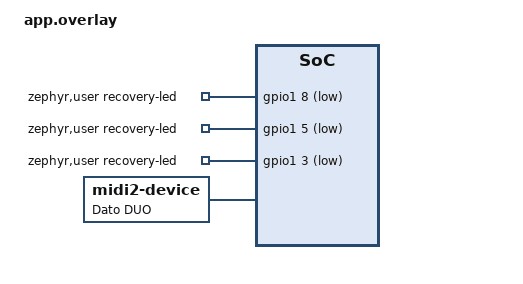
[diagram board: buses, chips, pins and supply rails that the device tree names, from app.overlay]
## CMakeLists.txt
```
# Copyright (c) 2025 Dato Musical Instruments
# SPDX-License-Identifier: Apache-2.0

cmake_minimum_required(VERSION 3.20.0)

find_package(Zephyr REQUIRED HINTS $ENV{ZEPHYR_BASE})
project(duo_firmware LANGUAGES C CXX)

target_sources(app PRIVATE
  src/main.cpp
  src/scales.cpp
  src/tempo.cpp
  src/tempo_clock.cpp

  # Sequencer core, shared with the Brains 1 firmware and compiled as is.
  ${CMAKE_CURRENT_LIST_DIR}/../../shared/duo/seq.cpp

  src/dsp/audio_out.cpp
  src/dsp/voice.cpp

  src/platform/FastLED.cpp
  src/platform/audio_path.cpp
  src/platform/audio_path_pinctrl.c
  src/platform/keys.cpp
  src/platform/midi.cpp
  src/platform/mux_pinctrl.c
  src/platform/midi_parser.cpp
  src/platform/panel_leds.cpp
  src/platform/pins.cpp
  src/platform/power.cpp
  src/platform/recovery.cpp
  src/platform/sync.cpp
  src/platform/ump_convert.cpp
  src/platform/usb_midi.cpp

  # WS2812 driver for the panel. Zephyr has no FlexIO abstraction, so this
  # lives with the firmware rather than in the Zephyr tree.
  ${CMAKE_CURRENT_LIST_DIR}/../drivers/led_strip/ws2812_flexio_imxrt.c
)

# Sampled drums, synthesised at build time; see drumkit/drumkit.py.
include(drumkit/drumkit.cmake)
duo_drumkit_sources(app)

target_include_directories(app PRIVATE
  src
  src/compat
  ${CMAKE_CURRENT_BINARY_DIR}/include

  # The sequencer, tempo, pitch and MIDI logic shared with the Brains 1
  # firmware is compiled straight out of the repository root.
  ${CMAKE_CURRENT_LIST_DIR}/../..
)

# Describe the build the way the legacy firmware does (brains2/apps/duo/
# CMakeLists.txt), for the USB string descriptors the updater reads back.
find_package(Git QUIET)

function(duo_git out)
  set(value "")
  if(GIT_FOUND)
    execute_process(
      COMMAND ${GIT_EXECUTABLE} ${ARGN}
      WORKING_DIRECTORY ${CMAKE_CURRENT_LIST_DIR}
      OUTPUT_VARIABLE value
      OUTPUT_STRIP_TRAILING_WHITESPACE
      ERROR_QUIET
    )
  endif()
  set(${out} "${value}" PARENT_SCOPE)
endfunction()

# USB strings are printable ASCII, and the legacy firmware caps them at 31
# characters.
function(duo_usb_string var)
  string(REGEX REPLACE "[^ -~]" "?" value "${${var}}")
  string(REPLACE "\"" "'" value "${value}")
  string(REPLACE "\\" "/" value "${value}")
  string(SUBSTRING "${value}" 0 31 value)
  set(${var} "${value}" PARENT_SCOPE)
endfunction()

duo_git(DUO_GIT_TAG name-rev --name-only --tags HEAD)
if(DUO_GIT_TAG STREQUAL "" OR DUO_GIT_TAG STREQUAL "undefined")
  set(DUO_GIT_TAG "Dev build")
endif()

duo_git(DUO_GIT_HASH log -1 --format=%h)
duo_git(DUO_GIT_BRANCH rev-parse --abbrev-ref HEAD)
duo_git(git_diff diff --stat)
if(NOT git_diff STREQUAL "")
  set(DUO_GIT_BRANCH "[edited] ${DUO_GIT_BRANCH}")
endif()

# The revision naming follows the legacy BOARD names, DUO_BRAINS_<major>.<minor>.
if(BOARD_REVISION MATCHES "^([0-9]+)\\.([0-9]+)")
  set(DUO_BOARD_NAME "DUO_BRAINS_${CMAKE_MATCH_1}.${CMAKE_MATCH_2}")
else()
  message(FATAL_ERROR "Cannot derive the DUO board name from revision '${BOARD_REVISION}'")
endif()

foreach(var DUO_GIT_TAG DUO_GIT_HASH DUO_GIT_BRANCH DUO_BOARD_NAME)
  duo_usb_string(${var})
endforeach()

configure_file(src/platform/build_info.h.in ${CMAKE_CURRENT_BINARY_DIR}/include/build_info.h @ONLY)
```

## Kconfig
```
# Copyright (c) 2025 Dato Musical Instruments
# SPDX-License-Identifier: Apache-2.0

mainmenu "Dato DUO firmware"

config DUO_DEV_MODE
	bool "Developer mode"
	help
	  Replaces power-off on a long press of the play button with entry into
	  the serial downloader, so the firmware can be reflashed without
	  opening the enclosure. Equivalent to DEV_MODE in the legacy firmware.

config DUO_REBOOT_ON_FATAL_ERROR
	bool "Reboot on a fatal error"
	default y
	help
	  Reboot the DUO when the firmware faults, rather than halting it with
	  the panel frozen and nothing on USB. Even if the fault recurs on
	  every boot, holding both arrow buttons while the DUO comes up still
	  reaches the serial downloader, since that check runs before any of
	  the drivers that could fail (see src/platform/recovery.cpp). Turn it
	  off to inspect a fault with a debugger.

config DUO_AUDIO_BLOCK_FRAMES
	int "Audio block size in stereo frames"
	default 128
	help
	  Matches AUDIO_BLOCK_SAMPLES in the legacy firmware. At 44.1 kHz a
	  block of 128 frames is 2.9 ms.

config DUO_AUDIO_BLOCK_COUNT
	int "Number of audio blocks in flight"
	default 4
	range 3 16
	help
	  Total buffering is BLOCK_FRAMES * BLOCK_COUNT frames. Four blocks
	  give about 12 ms, enough to ride out an LED refresh or a burst of
	  MIDI without the DAC running dry.

config DUO_AUDIO_THREAD_PRIORITY
	int "Audio thread priority"
	default -8
	help
	  Cooperative priority, so that rendering is never preempted by the
	  control loop.

config DUO_AUDIO_THREAD_STACK_SIZE
	int "Audio thread stack size"
	default 2048

config DUO_MIDI_RX_BUF_SIZE
	int "MIDI receive buffer size in bytes"
	default 256

config DUO_MIDI_TX_BUF_SIZE
	int "MIDI transmit buffer size in bytes"
	default 256
	help
	  At 31250 baud the DIN output moves about 31 bytes per millisecond, so
	  this needs to absorb a full frame's worth of parameter CCs.

config DUO_USB_VID
	hex "USB vendor ID"
	default 0x16d0
	help
	  MCS Electronics, as used by the legacy firmware.

config DUO_USB_PID
	hex "USB product ID"
	default 0x10a7

config DUO_USB_MANUFACTURER
	string "USB manufacturer string"
	default "Dato"

config DUO_USB_PRODUCT
	string "USB product string"
	default "Dato DUO"

module = DUO
module-str = duo
source "subsys/logging/Kconfig.template.log_config"

source "Kconfig.zephyr"
```

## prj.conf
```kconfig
# Copyright (c) 2025 Dato Musical Instruments
# SPDX-License-Identifier: Apache-2.0

CONFIG_CPP=y
CONFIG_STD_CPP17=y
# The firmware needs <cmath> and <cstring>, which the minimal C++ library does
# not provide. This resolves to GNU libstdc++ on the target.
CONFIG_REQUIRES_FULL_LIBCPP=y
CONFIG_CPP_EXCEPTIONS=n
CONFIG_CPP_RTTI=n
CONFIG_REQUIRES_FLOAT_PRINTF=n
CONFIG_FPU=y
# The control loop and the audio thread both do float maths, and the audio
# thread preempts the control loop at arbitrary points.
CONFIG_FPU_SHARING=y

# Peripherals
CONFIG_GPIO=y
CONFIG_ADC=y
CONFIG_PWM=y
CONFIG_LED=y
CONFIG_SERIAL=y
CONFIG_UART_INTERRUPT_DRIVEN=y
CONFIG_DMA=y
CONFIG_I2S=y
CONFIG_LED_STRIP=y
CONFIG_REBOOT=y
CONFIG_ENTROPY_GENERATOR=y

# Button matrix. The scanning thread runs at a cooperative priority so that a
# key press is picked up promptly even though the control loop in main() never
# blocks; it is short-lived and sleeps between scans.
CONFIG_INPUT=y
CONFIG_INPUT_GPIO_KBD_MATRIX=y
CONFIG_INPUT_KBD_MATRIX_THREAD_PRIORITY=-2
# Deliver key events from the scanning thread itself. With the default input
# thread, which runs at the lowest application priority, nothing is delivered
# while main() busy-waits through the power-on setup window, so holding a key
# at power-on (to pick the MIDI channel or the scale) would have no effect.
# The callback only queues the event, so this is safe from that thread.
CONFIG_INPUT_MODE_SYNCHRONOUS=y

# USB MIDI
CONFIG_USB_DEVICE_STACK_NEXT=y
CONFIG_USBD_MIDI2_CLASS=y
# Answers MIDI 2.0 hosts' endpoint and function block discovery, which is
# where they take the port names from.
CONFIG_MIDI2_UMP_STREAM_RESPONDER=y

# eDMA reads the audio and LED buffers directly, so they must be uncached.
CONFIG_NOCACHE_MEMORY=y

# DTCM is reserved for the delay line, which needs all of it; the eDMA
# descriptors go in regular SRAM instead.
CONFIG_DMA_MCUX_USE_DTCM_FOR_DMA_DESCRIPTORS=n

# The MIDI DIN jacks own LPUART1, so there is no console. Enable the RTT
# overlay (rtt-debug.conf) to get logging over the debug probe instead.
CONFIG_LOG=n
CONFIG_CONSOLE=n
CONFIG_UART_CONSOLE=n
CONFIG_PRINTK=n
CONFIG_BOOT_BANNER=n

CONFIG_MAIN_STACK_SIZE=4096
CONFIG_SYSTEM_WORKQUEUE_STACK_SIZE=2048
```

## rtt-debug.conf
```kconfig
# Copyright (c) 2025 Dato Musical Instruments
# SPDX-License-Identifier: Apache-2.0
#
# Extra configuration for debugging over a SWD probe. The MIDI DIN jacks own
# the only UART, so logging goes over SEGGER RTT instead:
#
#   west build -b duo_brains2 zephyr/app -- -DEXTRA_CONF_FILE=rtt-debug.conf

CONFIG_USE_SEGGER_RTT=y
CONFIG_RTT_CONSOLE=y
CONFIG_CONSOLE=y
CONFIG_PRINTK=y
CONFIG_LOG=y
CONFIG_LOG_MODE_DEFERRED=y
CONFIG_DUO_LOG_LEVEL_DBG=y
CONFIG_BOOT_BANNER=y
CONFIG_THREAD_NAME=y
# Stop on a fault so it can be inspected, rather than rebooting.
CONFIG_DUO_REBOOT_ON_FATAL_ERROR=n
```

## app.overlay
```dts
/*
 * Copyright (c) 2025 Dato Musical Instruments
 * SPDX-License-Identifier: Apache-2.0
 *
 * USB MIDI function exposed by the firmware, and the LEDs the recovery path
 * lights. These are application-level choices rather than properties of the
 * board, so they live here.
 */

#include <zephyr/dt-bindings/gpio/gpio.h>

/ {
	zephyr,user {
		/*
		 * The oscillator, filter and envelope indicator LEDs, driven
		 * as plain GPIOs (they are active low) to show that the DUO
		 * has gone into the serial downloader on the power-on
		 * recovery combination; see src/platform/recovery.cpp.
		 */
		recovery-led-gpios = <&gpio1 8 GPIO_ACTIVE_LOW>,
				     <&gpio1 5 GPIO_ACTIVE_LOW>,
				     <&gpio1 3 GPIO_ACTIVE_LOW>;
	};

	usb_midi: usb_midi {
		compatible = "zephyr,midi2-device";
		status = "okay";
		#address-cells = <1>;
		#size-cells = <1>;
		label = "Dato DUO";

		midi_in_out@0 {
			reg = <0 1>;
			protocol = "midi1-up-to-128b";
			label = "Dato DUO MIDI";
		};
	};
};
```

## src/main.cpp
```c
/*
 * Copyright (c) 2025 Dato Musical Instruments
 * SPDX-License-Identifier: Apache-2.0
 *
 * Dato DUO "Brains 2" firmware, ported from brains2/apps/duo/main.cpp.
 *
 * The structure of the original is kept: a single control loop that alternates
 * between a ~90 Hz "frame" (repaint the panel, emit parameter CCs) and a fast
 * pass that services MIDI, pitch glide, drums, the sequencer and the panel
 * inputs. Audio no longer runs from an interrupt driven by the codec DMA, but
 * from its own thread; see dsp/audio_out.cpp.
 */

#include "compat/duo_compat.h"

#include "platform/audio_path.h"
#include "platform/keys.h"
#include "platform/panel_leds.h"
#include "platform/pins.h"
#include "platform/power.h"
#include "platform/usb_midi.h"

#include "compat/lib/midi_wrapper.h"
#include "compat/lib/sync.h"

#include "dsp/audio_out.h"
#include "dsp/voice.h"

#include <zephyr/kernel.h>
#include <zephyr/logging/log.h>

LOG_MODULE_REGISTER(duo, CONFIG_DUO_LOG_LEVEL);

#include "globals.h"

/* Serial number reported over sysex; read from the SoC's unique ID at boot. */
static uint32_t SIM_UIDH;
static uint32_t SIM_UIDMH;
#define SIM_UIDML 0
#define SIM_UIDL 0

#define MIDI_SYSEX_DATA_TYPE byte
#include "shared/duo/MidiFunctions.h"

void midi_set_channel(uint8_t channel)
{
	if (channel > 0 && channel <= 16) {
		MIDI_CHANNEL = channel;
	}
}

uint8_t midi_get_channel()
{
	return MIDI_CHANNEL;
}

#include "compat/lib/elapsedMillis.h"
#include "shared/duo/TempoHandler.h"

TempoHandler tempo_handler;

#include "shared/duo/Sequencer.h"

static void midi_handle_clock()
{
	tempo_handler.midi_clock_received();
}

/*
 * Switches the keyboard to another scale. The pattern in the sequencer moves
 * with it: each step keeps its place in the scale, so what was played on the
 * fourth key still plays the fourth key's note. Steps holding notes from
 * outside the old scale (entered over MIDI) are left as they are.
 */
static void change_scale(uint8_t index)
{
	const duo::Scale &from = duo::current_scale();

	if (!duo::select_scale(index)) {
		return;
	}

	for (uint8_t i = 0; i < Sequencer::NUM_STEPS; i++) {
		sequencer.set_step_note(i, duo::scale_remap(from, duo::current_scale(),
							    sequencer.get_step_note(i)));
	}
}

#include "duo_drums.h"

/*
 * CC 3, which the MIDI specification leaves undefined and the DUO does not
 * send, selects the scale: values 0-15 the first, 16-31 the second, and so on,
 * so it works from a knob as well as from a sequencer.
 */
static const uint8_t SCALE_SELECT_CC = 3;

/*
 * CC 14 and 15, likewise undefined and never sent, pick the kick and hat pads'
 * sounds the way holding a pad and pressing a key does: values 0-12 the first
 * key's sound, 13-25 the second's, and so on up to the tenth.
 */
static const uint8_t KICK_SOUND_CC = 14;
static const uint8_t HAT_SOUND_CC = 15;

static void midi_handle_control_change(uint8_t channel, uint8_t number, uint8_t value)
{
	if (channel == MIDI_CHANNEL) {
		switch (number) {
		case SCALE_SELECT_CC:
			change_scale(value / (128 / duo::SCALE_COUNT));
			return;
		case KICK_SOUND_CC:
			Drums::select_kick_sound(value * duo::PAD_SOUNDS / 128);
			return;
		case HAT_SOUND_CC:
			Drums::select_hat_sound(value * duo::PAD_SOUNDS / 128);
			return;
		}
	}

	midi_handle_cc(channel, number, value);
}

/*
 * Sysex commands only this port answers, under the DUO's own header
 * (F0 7D 64 <command> F7). They start at 0x40, clear of the legacy commands,
 * which run from 0x01 to 0x0C.
 */
static const uint8_t SYSEX_AUDIO_LOAD = 0x40;

/*
 * Replies F0 7D 64 40, then the CPU clock in MHz, the audio block size in
 * frames, the mean and worst time to render a block in CPU cycles, the number
 * of blocks those cover and the underruns since start-up, each as five 7-bit
 * bytes, most significant first, then F7. Each reading starts a new window,
 * so the figures cover the time since the previous one.
 * tools/updater/audio_load.py reads it.
 */
static void midi_print_audio_load()
{
	struct audio_load load;

	audio_out_read_load(&load);

	const uint32_t values[] = {load.cpu_mhz,           load.block_frames,
				   load.render_avg_cycles, load.render_max_cycles,
				   load.blocks,            load.underruns};
	uint8_t sysex[4 + 5 * ARRAY_SIZE(values) + 1] = {0xf0, SYSEX_DATO_ID, SYSEX_DUO_ID,
							  SYSEX_AUDIO_LOAD};
	uint8_t *p = &sysex[4];

	for (const uint32_t value : values) {
		for (int shift = 28; shift >= 0; shift -= 7) {
			*p++ = (value >> shift) & 0x7f;
		}
	}
	*p = 0xf7;

	MIDI::sendSysEx(sizeof(sysex), sysex);
}

static void midi_handle_port_sysex(byte *data, unsigned length)
{
	if (length >= 4 && data[1] == SYSEX_DATO_ID && data[2] == SYSEX_DUO_ID &&
	    data[3] == SYSEX_AUDIO_LOAD) {
		midi_print_audio_load();
		return;
	}

	midi_handle_sysex(data, length);
}

static void midi_init()
{
	MIDI::init(MIDI::Callbacks{.note_on = midi_note_on,
				   .note_off = midi_note_off,
				   .clock = midi_handle_clock,
				   .start = sequencer_start_from_MIDI,
				   .cont = sequencer_start_from_MIDI,
				   .stop = sequencer_stop,
				   .cc = midi_handle_control_change,
				   .sysex = midi_handle_port_sysex});
}

/* One more LED than the panel physically has, for the production loopback test. */
static const int NUM_LEDS = 19 + 1;
static const int led_order[NUM_LEDS] = {1,  2,  3,  4,  5,  6,  7,  8,  9,  10,
					11, 12, 13, 14, 15, 16, 17, 18, 19, 20};

#include "duo_leds.h"
#include "shared/duo/Pitch.h"

#include "duo_synth.h"

static uint8_t note_is_playing = 0;

/*
 * The note each keyboard key is holding, so that letting go releases the note
 * that was pressed even if the scale changed in between. Keys never play note
 * 0, so that marks a key that holds nothing.
 */
static const uint8_t NO_NOTE = 0;
static uint8_t key_note[duo::KEYBOARD_KEYS];

void note_on(uint8_t midi_note, uint8_t velocity, bool enabled)
{
	/* The ACCENT button forces full velocity. */
	if (synth.accent) {
		velocity = 127;
	}

	note_is_playing = midi_note;

	if (enabled) {
		/* Velocity sets how far the filter envelope opens the filter. */
		duo::voice.set_filter_env_amount(velocity / 127.0f);
		osc_pulse_midi_note = midi_note;
		osc_pulse_target_frequency = (int)midi_note_to_frequency(midi_note);
		duo::voice.set_saw_frequency(detune(osc_pulse_midi_note, detune_amount));

		MIDI::sendNoteOn(midi_note, velocity, MIDI_CHANNEL);
		duo::voice.note_on();
	} else {
		leds(sequencer.cur_step_index() % Sequencer::NUM_STEPS) = LED_WHITE;
	}
}

void note_off()
{
	if (note_is_playing) {
		MIDI::sendNoteOff(note_is_playing, 0, MIDI_CHANNEL);
		duo::voice.note_off();
		note_is_playing = 0;
	}
}

static void pots_read()
{
	synth.speed = potRead(TEMPO_POT);
	synth.gateLength = potRead(GATE_POT);

	synth.resonance = potRead(FILTER_RES_POT);
	synth.release = potRead(AMP_ENV_POT);
	synth.amplitude = potRead(AMP_POT);
	synth.filter = potRead(FILTER_FREQ_POT);
	synth.detune = potRead(OSC_DETUNE_POT);
	synth.pulseWidth = potRead(OSC_PW_POT);

	synth.glide = pinRead(GLIDE_PIN);
	synth.crush = pinRead(BITC_PIN);
	synth.accent = pinRead(ACCENT_PIN);
	synth.delay = pinRead(DELAY_PIN);
}

/* Not reachable in developer mode, where a long press enters the bootloader. */
__maybe_unused static void power_off()
{
	MIDI::sendControlChange(123, 0, MIDI_CHANNEL);

	duo::voice.pop_suppressor_fade_out(20);
	k_msleep(30);

	Audio::amp_disable();
	Audio::headphone_disable();

	audio_out_stop();
	usb_midi_disconnect();
	led_deinit();
	power_flag = false;

	/* Wait for the power button to be let go of before arming the wake-up. */
	while (keys_powerbutton_pressed()) {
		k_msleep(10);
	}

	delay(100);
}

bool is_power_on()
{
	return power_flag;
}

/*
 * Holding a drum pad turns the keyboard into a choice of sounds for that pad,
 * one per key. The new sound plays straight away, so it can be heard while
 * the pad is still held.
 */
static const uint8_t DRUM_AUDITION_VELOCITY = 95;

static void pick_drum_sound(uint8_t key)
{
	if (Drums::kick_pad_held()) {
		Drums::select_kick_sound(key);
		duo::voice.kick_note_on(DRUM_AUDITION_VELOCITY);
	}

	if (Drums::hat_pad_held()) {
		Drums::select_hat_sound(key);
		duo::voice.hat_note_on(DRUM_AUDITION_VELOCITY);
	}
}

static void process_key(const Button k, const KeyState state)
{
	switch (state) {
	case PRESSED:
		if (k <= KEYB_9 && k >= KEYB_0) {
			if (in_setup) {
				midi_set_channel((k - KEYB_0) + 1);
			} else if (Drums::kick_pad_held() || Drums::hat_pad_held()) {
				/* The key picks a sound and holds no note to release. */
				pick_drum_sound(k - KEYB_0);
			} else {
				key_note[k - KEYB_0] = SCALE[k - KEYB_0];
				keyboard_set_note(key_note[k - KEYB_0]);
			}
		} else if (k <= STEP_8 && k >= STEP_1) {
			const uint8_t step = k - STEP_1;

			if (in_setup) {
				/* Held at power-on, a step button picks the scale. */
				change_scale(step);
			} else if (!sequencer.toggle_step(step)) {
				leds(step) = CRGB::Black;
			}
		} else if (k == BTN_SEQ2) {
			if (!sequencer.is_running()) {
				sequencer.advance();
			}
			double_speed = true;
		} else if (k == BTN_DOWN) {
			transpose--;
			if (transpose < -12) {
				transpose = -24;
			}
		} else if (k == BTN_UP) {
			transpose++;
			if (transpose > 12) {
				transpose = 24;
			}
		} else if (k == BTN_SEQ1) {
			if (sequencer.is_running()) {
				random_flag = true;
			} else {
				sequencer_randomize_step_offset(sequencer);
			}
		} else if (k == SEQ_START) {
			sequencer_toggle_start();
		}
		break;
	case HOLD:
		if (k <= KEYB_9 && k >= KEYB_0) {
			if (in_setup) {
				midi_set_channel((k - KEYB_0) + 1);
			}
		} else if (k == SEQ_START) {
#ifdef CONFIG_DUO_DEV_MODE
			sequencer_stop();
			FastLED.clear();
			FastLED.show();
			delay(1);
			physical_leds[0] = CRGB::Blue;
			FastLED.show();
			dfu_flag = 1;
#else
			power_off();
#endif
		}
		break;
	case RELEASED:
		if (k <= KEYB_9 && k >= KEYB_0) {
			if (key_note[k - KEYB_0] != NO_NOTE) {
				keyboard_unset_note(key_note[k - KEYB_0]);
				key_note[k - KEYB_0] = NO_NOTE;
			}
		} else if (k == BTN_SEQ2) {
			double_speed = false;
		} else if (k == BTN_DOWN || k == BTN_UP) {
			if (transpose < -12) {
				transpose = -12;
			}
			if (transpose > 12) {
				transpose = 12;
			}
		} else if (k == BTN_SEQ1) {
			random_flag = false;
		} else if (k == SEQ_START) {
#ifdef CONFIG_DUO_DEV_MODE
			if (dfu_flag == 1) {
				enter_dfu();
			}
#endif
		}
		break;
	case IDLE:
		/*
		 * Not reported by keys.cpp: a key goes back to idle when it is
		 * released, and the release above has already let go of its
		 * note. (The legacy handler released note number `k - KEYB_0`
		 * here, which is not a note any key plays.)
		 */
		break;
	}
}

static void panel_scan()
{
	/* The DELAY switch is edge-triggered: it fades the delay in and out. */
	if (pinRead(DELAY_PIN) && synth.delay == true) {
		synth.delay = false;
		duo::voice.set_delay_enabled(false);
	} else if (!pinRead(DELAY_PIN) && synth.delay == false) {
		synth.delay = true;
		duo::voice.set_delay_enabled(true);
	}

	keys_scan();
}

static void headphone_jack_check()
{
	static unsigned long next_jack_check_time = 0;
	const unsigned int jack_check_interval = 200;

	if (millis() <= next_jack_check_time) {
		return;
	}

	next_jack_check_time = millis() + jack_check_interval;

	if (headphone_jack_detected()) {
		MAIN_GAIN = HEADPHONE_MAIN_GAIN;
		DELAY_GAIN = HEADPHONE_DELAY_GAIN;
		KICK_GAIN = HEADPHONE_KICK_GAIN;
		HAT_GAIN = HEADPHONE_HAT_GAIN;
		Audio::headphone_enable();
		Audio::amp_disable();
	} else {
		MAIN_GAIN = SPEAKER_MAIN_GAIN;
		DELAY_GAIN = SPEAKER_DELAY_GAIN;
		KICK_GAIN = SPEAKER_KICK_GAIN;
		HAT_GAIN = SPEAKER_HAT_GAIN;
		Audio::headphone_disable();
		Audio::amp_enable();
	}
}

static void main_loop()
{
	static unsigned long frame_time = millis();
	static const unsigned long frame_interval = 11;

	while (true) {
		if (is_power_on()) {
			/*
			 * The clock is generated by polling, so it runs on every
			 * pass rather than only on the fast ones - otherwise a tick
			 * falling during the frame below is late by however long
			 * the panel repaint takes, and that lands on the MIDI clock
			 * and the sync jack.
			 */
			sequencer_update();

			if (millis() - frame_time > frame_interval) {
				frame_time = millis();
				led_update();
				midi_send_cc();
				FastLED.show();
			} else {
				MIDI::read(MIDI_CHANNEL);
				pitch_update();
				synth_update();
				Drums::update();
				headphone_jack_check();
				pots_read();
				panel_scan();
			}
		} else {
			if (millis() - frame_time > frame_interval) {
				frame_time = millis();
				if (keys_powerbutton_pressed()) {
					power_reset();
				}
			}

			k_msleep(1);
		}
	}
}

static void main_init()
{
	/*
	 * The MIDI channel is meant to be restored from persistent storage;
	 * the legacy firmware has that path commented out too, and defaults
	 * to channel 1.
	 */
	const uint8_t stored_midi_channel = 1;

	midi_set_channel(stored_midi_channel);

	const uint32_t previous_frame_time = millis();

	/*
	 * Order matters: the sequencer and buttons come up first so that a key
	 * held down at power-on can select the MIDI channel, before the LEDs
	 * light up to show which one was chosen.
	 */
	sequencer_init();

	while (millis() - previous_frame_time < 100) {
		panel_scan();
	}

	midi_init();
	led_init();

	Drums::init();
	audio_init();
	audio_out_start();

	Audio::amp_init();
	Audio::headphone_enable();
	Audio::amp_enable();

	in_setup = false;
}

void enter_dfu()
{
	/* Blank the panel and turn the power button teal before rebooting. */
	FastLED.clear();
	for (int i = 0; i < NUM_LEDS; i++) {
		physical_leds[i] = CRGB::Black;
	}
	physical_leds[0] = CRGB::Teal;

	for (int i = 0; i < 4; i++) {
		FastLED.show();
		delay(100);
	}

	power_enter_rom_bootloader();
}

int main(void)
{
	power_read_device_id(&SIM_UIDH, &SIM_UIDMH);

	if (pins_init() < 0) {
		LOG_ERR("panel inputs failed to initialise");
	}

	if (panel_leds_init() < 0) {
		LOG_ERR("panel LEDs failed to initialise");
	}

	if (keys_init(process_key) < 0) {
		LOG_ERR("key matrix failed to initialise");
	}

	Sync::init();

	Audio::amp_init();
	Audio::amp_disable();
	Audio::headphone_disable();

	main_init();
	main_loop();

	return 0;
}
```

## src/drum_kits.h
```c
/*
 * Copyright (c) 2025 Dato Musical Instruments
 * SPDX-License-Identifier: Apache-2.0
 *
 * The sounds each drum pad can play, one per keyboard key. The samples are
 * synthesised at build time by drumkit/drumkit.py, which generates the
 * definitions below, and play straight out of flash.
 */

#pragma once

#include <cstddef>
#include <cstdint>

namespace duo {

/* A sampled drum: 16 bit mono at 44.1 kHz. */
struct DrumSample {
	const int16_t *data;
	uint32_t length;
};

/*
 * One sound per keyboard key, in key order. The first is the DUO's own
 * synthesised drum, which the voice renders itself, so it has no sample
 * (data is nullptr).
 */
static constexpr size_t PAD_SOUNDS = 10;

extern const DrumSample KICK_PAD_SOUNDS[PAD_SOUNDS];
extern const DrumSample HAT_PAD_SOUNDS[PAD_SOUNDS];

} /* namespace duo */
```

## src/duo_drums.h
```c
/*
 * Copyright (c) 2025 Dato Musical Instruments
 * SPDX-License-Identifier: Apache-2.0
 *
 * Drum pads, ported from brains2/apps/duo/duo-firmware/src/DrumSynth.h and
 * brains2/apps/duo/boards/DUO_BRAINS_2.1/drums.h.
 *
 * Each drum has three touch segments; which of them are held selects the
 * velocity, so the pads behave like a crude position-sensitive trigger.
 *
 * Each pad plays one of ten sounds (drum_kits.h), picked by holding the pad
 * and pressing a key. The first is the synthesised drum the legacy firmware
 * plays, and is where both pads start.
 */

#pragma once

#include "drum_kits.h"
#include "dsp/voice.h"
#include "platform/pins.h"

static bool kick_playing = 0;
static bool hat_playing = 0;

/* When each pad was touched, for as long as it stays held. */
static unsigned long kick_touched_at;
static unsigned long hat_touched_at;

static void kick_noteon(uint8_t velocity)
{
	duo::voice.kick_note_on(velocity);
	kick_playing = 1;
	kick_touched_at = millis();
}

static void kick_noteoff()
{
	duo::voice.kick_note_off();
	kick_playing = 0;
}

static void hat_noteon(uint8_t velocity)
{
	duo::voice.hat_note_on(velocity);
	hat_playing = 1;
	hat_touched_at = millis();
}

static void hat_noteoff()
{
	duo::voice.hat_note_off();
	hat_playing = 0;
}

namespace Drums {

static bool hat_l = 0;
static bool hat_m = 0;
static bool hat_r = 0;
static bool kick_l = 0;
static bool kick_m = 0;
static bool kick_r = 0;

/* The sound each pad plays, as the index of the key that picked it. */
static uint8_t kick_sound = 0;
static uint8_t hat_sound = 0;

static inline void select_kick_sound(uint8_t index)
{
	if (index >= duo::PAD_SOUNDS) {
		return;
	}

	kick_sound = index;
	duo::voice.set_kick_sample(duo::KICK_PAD_SOUNDS[index].data,
				   duo::KICK_PAD_SOUNDS[index].length);
}

static inline void select_hat_sound(uint8_t index)
{
	if (index >= duo::PAD_SOUNDS) {
		return;
	}

	hat_sound = index;
	duo::voice.set_hat_sample(duo::HAT_PAD_SOUNDS[index].data, duo::HAT_PAD_SOUNDS[index].length);
}

static inline uint8_t kick_sound_index()
{
	return kick_sound;
}

static inline uint8_t hat_sound_index()
{
	return hat_sound;
}

static inline bool kick_pad_held()
{
	return kick_playing;
}

static inline bool hat_pad_held()
{
	return hat_playing;
}

/* How long each pad has been held, or 0 while it is not. */
static inline unsigned long kick_pad_held_ms()
{
	return kick_playing ? millis() - kick_touched_at : 0;
}

static inline unsigned long hat_pad_held_ms()
{
	return hat_playing ? millis() - hat_touched_at : 0;
}

static inline void init()
{
	/* Voice-side setup happens in duo::Voice::init(). */
}

static inline void update()
{
	static unsigned long update_time;

	if (millis() - update_time <= 10) {
		return;
	}

	update_time = millis();

	hat_l = pinRead(HAT_PAD_L_PIN);
	hat_m = pinRead(HAT_PAD_M_PIN);
	hat_r = pinRead(HAT_PAD_R_PIN);
	kick_l = pinRead(KICK_PAD_L_PIN);
	kick_m = pinRead(KICK_PAD_M_PIN);
	kick_r = pinRead(KICK_PAD_R_PIN);

	if (hat_playing) {
		if (!hat_l && !hat_r && !hat_m) {
			hat_noteoff();
		}
	} else {
		if (hat_l && hat_m) {
			hat_noteon(31);
		} else if (hat_l) {
			hat_noteon(0);
		} else if (hat_r && hat_m) {
			hat_noteon(95);
		} else if (hat_r) {
			hat_noteon(127);
		} else if (hat_m) {
			hat_noteon(64);
		}
	}

	if (kick_playing) {
		if (!kick_l && !kick_r && !kick_m) {
			kick_noteoff();
		}
	} else {
		if (kick_l && kick_m) {
			kick_noteon(31);
		} else if (kick_l) {
			kick_noteon(0);
		} else if (kick_r && kick_m) {
			kick_noteon(95);
		} else if (kick_r) {
			kick_noteon(127);
		} else if (kick_m) {
			kick_noteon(63);
		}
	}
}

} /* namespace Drums */
```

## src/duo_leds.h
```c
/*
 * Copyright (c) 2025 Dato Musical Instruments
 * SPDX-License-Identifier: Apache-2.0
 *
 * Panel lighting, ported from brains2/apps/duo/duo-firmware/src/Leds.h.
 *
 * One behavioural difference from the legacy firmware: blend() there is a stub
 * in the FastLED adapter that returns its first argument unchanged, so the
 * current-step colour never actually crossfades. Here it performs the real
 * crossfade the code was written for.
 */

#pragma once

#include "dsp/voice.h"
#include "platform/FastLED.h"
#include "platform/panel_leds.h"

#define LED_WHITE CRGB(230, 255, 150)

#define leds(A) physical_leds[led_order[A]]

CRGB physical_leds[NUM_LEDS];
#define led_play physical_leds[0]

static const int SK6812_BRIGHTNESS = 32;
static const int SK6805_BRIGHTNESS = 140;

#define CORRECTION_SK6812 0xFFF1E0
#define CORRECTION_SK6805 0xFFD3E0

/*
 * The white balance the legacy firmware actually applies. Its led_init()
 * asks for CORRECTION_SK6812, but the legacy FastLED adapter's
 * setCorrection() is a stub, and its LED driver scales every frame by this
 * fixed value instead (brains2/core/lib/leds.h).
 */
#define CORRECTION_LEGACY 0xFFD0D0

/* The black keys have assigned colours; the white keys are shown in grey. */
static const CRGB COLORS[] = {
	0x444444, 0xFF0001, 0x444444, 0xFFDD00, 0x444444, 0x444444,
	0x11FF00, 0x444444, 0x0033DD, 0x444444, 0xFF00FF, 0x444444,
	0x444444, 0xFF2209, 0x444444, 0x99FF00, 0x444444, 0x444444,
	0x00EE22, 0x444444, 0x0099CC, 0x444444, 0xBB33BB, 0x444444,
};

static void led_init()
{
	FastLED.addLeds<0, 0, 0>(physical_leds, NUM_LEDS);

	FastLED.setBrightness(SK6805_BRIGHTNESS);
	FastLED.setCorrection(CORRECTION_LEGACY);

	FastLED.clear();
	physical_leds[NUM_LEDS - 1] = CRGB(0xff6805);
	FastLED.show();

	FastLED.clear();
	FastLED.show();

	/*
	 * The 400 ms of delay in this startup animation is deliberate: it also
	 * prevents an audible pop as the amplifier comes up.
	 */
#ifdef CONFIG_DUO_DEV_MODE
	physical_leds[0] = CRGB::Blue;
#endif

	/* The key of the current MIDI channel lights up... */
	physical_leds[MIDI_CHANNEL + 8] = COLORS[SCALE[MIDI_CHANNEL - 1] % 24];

	/* ...and so does the step button of the scale, if one was picked... */
	if (duo::current_scale_index() != duo::DEFAULT_SCALE) {
		leds(duo::current_scale_index()) = LED_WHITE;
	}

	/* ...and the play button turns purple in duophonic mode. */
	if (duophonic) {
		led_play = CRGB(0x8800ff);
	}

	FastLED.show();
	delay(100);
	FastLED.show();
	delay(100);
	FastLED.show();
	delay(100);

	for (uint16_t i = 0; i < 10; i++) {
		write_env_led(i * 8 / 255.0f);
		write_filter_led(i * 8);
		write_osc_led(i * 8);

		physical_leds[i + 9] = COLORS[SCALE[i] % 24];
		delay(20);
		FastLED.show();
	}
}

/* Fades the panel down and parks it in a low power state. */
static void led_deinit()
{
	for (int i = 32; i > 1; i = (i * 7) >> 3) {
		FastLED.setBrightness(i);
		FastLED.show();
		delay(20);
	}

	blank_env_led();
	blank_filter_led();
	blank_osc_led();
	FastLED.clear();
	FastLED.show();
}

/*
 * Once a drum pad has been held for a moment, the keys show which sound it
 * plays: that key lights white and the others dim. A hit is shorter than the
 * wait, so playing the pads does not flash the keyboard.
 */
static const unsigned long DRUM_SOUND_DISPLAY_MS = 300;

static void show_drum_sound()
{
	int sound;

	if (Drums::kick_pad_held_ms() > DRUM_SOUND_DISPLAY_MS) {
		sound = Drums::kick_sound_index();
	} else if (Drums::hat_pad_held_ms() > DRUM_SOUND_DISPLAY_MS) {
		sound = Drums::hat_sound_index();
	} else {
		return;
	}

	for (int i = 0; i < 10; i++) {
		physical_leds[i + 9] = i == sound ? LED_WHITE : CRGB(0x111111);
	}
}

/* Repaints the panel from the sequencer state. */
static void led_update()
{
	for (uint16_t i = 0; i < 10; i++) {
		physical_leds[i + 9] = COLORS[SCALE[i] % 24];
	}

	show_drum_sound();

	for (int l = 0; l < Sequencer::NUM_STEPS; l++) {
		if (sequencer.get_step_enabled(l)) {
			leds(l) = COLORS[sequencer.get_step_note(l) % 24];
		} else {
			leds(l) = CRGB::Black;
		}
	}

	const auto cur_seq_step = sequencer.cur_step_index();

	if (sequencer.gate_active()) {
		leds(cur_seq_step) = LED_WHITE;
	}

	if (sequencer.is_running()) {
		led_play = LED_WHITE;
	} else {
		if (sequencer.note_playing()) {
			leds(Sequencer::wrapped_step(cur_seq_step)) = LED_WHITE;
		} else {
			const unsigned step_ticks = Sequencer::TICKS_PER_STEP;
			const uint32_t seq_clock = sequencer.get_clock() + step_ticks;
			const uint32_t fade_val = (seq_clock % step_ticks) * 16;
			const bool fade_play = (seq_clock % (2 * step_ticks)) < step_ticks;

			/* Alternate between fading the play button and the current step. */
			if (fade_play) {
				led_play = LED_WHITE;
				led_play.fadeLightBy(fade_val);
			} else {
				led_play = CRGB::Black;

				if (sequencer.get_step_enabled(cur_seq_step)) {
					leds(cur_seq_step) = blend(
						LED_WHITE,
						COLORS[sequencer.get_step_note(cur_seq_step) % 24],
						fade_val);
				} else {
					leds(cur_seq_step) = LED_WHITE;
					leds(cur_seq_step).fadeLightBy(fade_val);
				}
			}
		}
	}

	write_env_led(duo::voice.peak());
	write_filter_led(synth.filter);
	write_osc_led(synth.pulseWidth);
}
```

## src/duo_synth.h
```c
/*
 * Copyright (c) 2025 Dato Musical Instruments
 * SPDX-License-Identifier: Apache-2.0
 *
 * Panel-to-voice parameter mapping, ported from
 * brains2/apps/duo/duo-firmware/src/Synth.h. The patch itself now lives in
 * dsp/voice.h; what remains here is the mapping from 10 bit pot readings to
 * synth parameters, which is unchanged.
 */

#pragma once

#include "dsp/voice.h"

/* Output gains, from brains2/core/boards/DUO_BRAINS_2.1/board_audio_output.h. */
static const float HEADPHONE_GAIN = 2.0f;
static const float SPEAKER_GAIN = 2.0f;

static const float HEADPHONE_KICK_GAIN = 0.5f;
static const float HEADPHONE_HAT_GAIN = 0.5f;
static const float HEADPHONE_DELAY_GAIN = 1.0f;
static const float HEADPHONE_MAIN_GAIN = 0.8f;

static const float SPEAKER_MAIN_GAIN = 0.8f;
static const float SPEAKER_DELAY_GAIN = 1.0f;
static const float SPEAKER_KICK_GAIN = 0.8f;
static const float SPEAKER_HAT_GAIN = 1.0f;

float MAIN_GAIN = 0.8f;
float DELAY_GAIN = 1.0f;
float KICK_GAIN = 1.0f;
float HAT_GAIN = 1.2f;

static void audio_init()
{
	duo::voice.init();
	duo::voice.set_preamp_gains(HEADPHONE_GAIN, SPEAKER_GAIN);
	duo::voice.set_output_gains(MAIN_GAIN, DELAY_GAIN, KICK_GAIN, HAT_GAIN);
}

static void audio_volume(int volume)
{
	static const int LOW_VOLUME_THRESHOLD = 4;

	if (volume < LOW_VOLUME_THRESHOLD) {
		duo::voice.set_output_gains(0.0f, 0.0f, 0.0f, 0.0f);
	} else {
		duo::voice.set_output_gains(volume / (1023.0f / MAIN_GAIN),
					    volume / (1023.0f / DELAY_GAIN),
					    (volume + 512) / (2048.0f / KICK_GAIN),
					    (volume + 512) / (2048.0f / HAT_GAIN));
	}
}

/*
 * Duophonic mode's second note, which the saw oscillator plays in place of
 * following the pulse oscillator at the DETUNE interval; NO_SECOND_NOTE the
 * rest of the time. note_on() in main.cpp sets it.
 */
static const int NO_SECOND_NOTE = -1;
static int second_note = NO_SECOND_NOTE;
static float second_note_frequency;

/*
 * The saw normally sits well under the pulse (0.4 against its 0.5, in a mixer
 * weighted 0.2 to 0.4). Playing a note of its own, it is brought up to about
 * 3 dB below the pulse, so both notes carry.
 */
static const float DUOPHONIC_SAW_AMPLITUDE = 1.2f;

/* The saw's frequency for the second note, gliding to it the way pitch_update() does. */
static float second_note_saw_frequency()
{
	static uint32_t glide_time;

	/* An octave down: synth_update() plays the pulse an octave down too. */
	const float target = midi_note_to_frequency(second_note - 12);

	if (synth.glide) {
		if (millis() - glide_time > 10) {
			second_note_frequency += (target - second_note_frequency) * 0.3f;
			glide_time = millis();
		}
	} else {
		second_note_frequency = target;
	}

	return second_note_frequency;
}

static void synth_update()
{
	float osc_saw_amplitude = 0.4f;
	float saw_frequency = osc_saw_frequency;

	if (synth.detune > 850) {
		osc_saw_amplitude = map(synth.detune, 850, 1023, 400, 0) / 1000.0f;
	} else if (synth.detune < 200) {
		osc_saw_amplitude = map(synth.detune, 0, 200, 200, 400) / 1000.0f;
	}

	if (second_note != NO_SECOND_NOTE) {
		saw_frequency = second_note_saw_frequency();
		osc_saw_amplitude = DUOPHONIC_SAW_AMPLITUDE;
	}

	float bitcrusher_samplerate = HIGH_SAMPLE_RATE;

	if (synth.crush) {
		bitcrusher_samplerate = LOW_SAMPLE_RATE;
	}

	const float osc_pulse_pulseWidth = map(synth.pulseWidth, 0, 1023, 500, 950) / 1000.0f;
	float filter_resonance = map(synth.resonance, 0, 1023, 70, 320) / 100.0f;

	if (synth.accent) {
		filter_resonance = 4.0f;
	}

	duo::voice.set_saw_frequency(saw_frequency);
	duo::voice.set_saw_amplitude(osc_saw_amplitude);

	duo::voice.set_pulse_frequency(osc_pulse_frequency / 2);
	duo::voice.set_pulse_width(osc_pulse_pulseWidth);

	duo::voice.set_filter_frequency((synth.filter / 2) + 30);
	duo::voice.set_filter_resonance(filter_resonance);

	duo::voice.set_amp_release((float)(((synth.release * synth.release) >> 11) + 30));

	duo::voice.set_crush_sample_rate(bitcrusher_samplerate);

	audio_volume(synth.amplitude);
}
```

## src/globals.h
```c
/*
 * Copyright (c) 2025 Dato Musical Instruments
 * SPDX-License-Identifier: Apache-2.0
 *
 * Ported from brains2/apps/duo/globals.h. The globals here are the ones the
 * shared sequencer, pitch and MIDI code in shared/duo/ reaches for by name.
 */

#pragma once

#include "compat/duo_compat.h"
#include "scales.h"

#define VERSION "1.2.0-beta1"
static const uint8_t FIRMWARE_VERSION[] = {1, 2, 0};

int MIDI_CHANNEL = 1;

/*
 * Musical settings. SCALE[key] is the note under each of the ten keys; the
 * legacy firmware's fixed pentatonic {49, 51, 54, ..., 70} is now the default
 * of several scales (see scales.h).
 */
static const duo::ScaleKeys SCALE;

#define HIGH_SAMPLE_RATE 44100.0f
#define LOW_SAMPLE_RATE 2489.0f

/* Sequencer and voice state shared across the modules below. */
float osc_saw_frequency = 0.0f;
float osc_pulse_frequency = 0.0f;
float osc_pulse_target_frequency = 0.0f;
float osc_saw_target_frequency = 0.0f;
uint8_t osc_pulse_midi_note = 0;
int transpose = 0;
bool random_flag = 0;
bool dfu_flag = 0;
bool in_setup = true;

void note_on(uint8_t midi_note, uint8_t velocity, bool enabled);
void note_off();
void enter_dfu();

bool power_flag = true;

#include "shared/duo/synth_params.h"
synth_parameters synth;

void sequencer_note_on(uint8_t midi_note, uint8_t velocity)
{
	note_on(midi_note + transpose, velocity, true);
}

#include "shared/duo/seq.h"

void sequencer_randomize_step_offset(Sequencer::Sequencer &seq)
{
	const uint8_t offset = seq.get_step_offset() + random(1, (Sequencer::NUM_STEPS - 2));

	seq.set_step_offset(offset);
}

void sequencer_on_running_advance(Sequencer::Sequencer &seq)
{
	if (random_flag) {
		sequencer_randomize_step_offset(seq);
	} else {
		seq.set_step_offset(0);
	}
}

Sequencer::Sequencer sequencer(Sequencer::Output::Callbacks{.note_on = sequencer_note_on,
							    .note_off = note_off},
			       sequencer_on_running_advance);
```

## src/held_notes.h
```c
/*
 * Copyright (c) 2025 Dato Musical Instruments
 * SPDX-License-Identifier: Apache-2.0
 *
 * The notes held down right now, from the keyboard and over MIDI, for
 * duophonic mode: with two or more held, the lowest and the highest play on
 * the two oscillators.
 *
 * The sequencer keeps its own list of held notes for the arpeggiator, but in
 * code shared with the Brains 1 firmware and out of reach, so the port keeps
 * this one alongside it.
 */

#pragma once

#include <cstdint>

namespace duo {

class HeldNotes {
public:
	static constexpr uint8_t NOTES = 128;

	void press(uint8_t note)
	{
		if (note < NOTES && holders[note]++ == 0) {
			distinct++;
		}
	}

	void release(uint8_t note)
	{
		if (note < NOTES && holders[note] > 0 && --holders[note] == 0) {
			distinct--;
		}
	}

	void release_all()
	{
		for (uint8_t &h : holders) {
			h = 0;
		}
		distinct = 0;
	}

	/* How many different notes are held; a key and MIDI holding the same one count once. */
	uint8_t count() const
	{
		return distinct;
	}

	/*
	 * The lowest and the highest note held, if at least two different notes
	 * are; otherwise false.
	 */
	bool outer_pair(uint8_t *lowest, uint8_t *highest) const
	{
		if (distinct < 2) {
			return false;
		}

		uint8_t low = 0;
		uint8_t high = NOTES - 1;

		while (holders[low] == 0) {
			low++;
		}
		while (holders[high] == 0) {
			high--;
		}

		*lowest = low;
		*highest = high;
		return true;
	}

private:
	/* How many sources hold each note: a key and MIDI can hold the same one. */
	uint8_t holders[NOTES] = {};
	uint8_t distinct = 0;
};

} /* namespace duo */
```

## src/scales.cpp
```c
/*
 * Copyright (c) 2025 Dato Musical Instruments
 * SPDX-License-Identifier: Apache-2.0
 */

#include "scales.h"

namespace duo {

/* Ordered as the step buttons that select them at power-on, 1 to 8. */
const Scale SCALES[SCALE_COUNT] = {
	/* C# D# F# G# A#: the legacy keyboard. */
	{"pentatonic", 5, {0, 2, 5, 7, 9}},
	{"major", 7, {0, 2, 4, 5, 7, 9, 11}},
	{"minor", 7, {0, 2, 3, 5, 7, 8, 10}},
	{"dorian", 7, {0, 2, 3, 5, 7, 9, 10}},
	{"mixolydian", 7, {0, 2, 4, 5, 7, 9, 10}},
	{"harmonic minor", 7, {0, 2, 3, 5, 7, 8, 11}},
	{"blues", 6, {0, 3, 5, 6, 7, 10}},
	{"chromatic", 12, {0, 1, 2, 3, 4, 5, 6, 7, 8, 9, 10, 11}},
};

static uint8_t selected = DEFAULT_SCALE;

/* Division rounding towards minus infinity, for positions below the root. */
static int floor_div(int a, int b)
{
	return (a >= 0) ? a / b : -((-a + b - 1) / b);
}

int scale_note(const Scale &scale, int position)
{
	const int octave = floor_div(position, scale.length);
	const int degree = position - octave * scale.length;

	return SCALE_ROOT + 12 * octave + scale.intervals[degree];
}

bool scale_position(const Scale &scale, int note, int *position)
{
	const int offset = note - SCALE_ROOT;
	const int octave = floor_div(offset, 12);
	const int semitone = offset - octave * 12;

	for (int degree = 0; degree < scale.length; degree++) {
		if (scale.intervals[degree] == semitone) {
			*position = octave * scale.length + degree;
			return true;
		}
	}

	return false;
}

uint8_t scale_remap(const Scale &from, const Scale &to, uint8_t note)
{
	int position;

	if (!scale_position(from, note, &position)) {
		return note;
	}

	const int remapped = scale_note(to, position);

	/*
	 * Far from the root the scales drift apart by octaves. A note that
	 * would land outside MIDI's range stays where it is; so does one that
	 * would land on 0, which note_off() takes to mean no note is playing.
	 */
	if (remapped < 1 || remapped > 127) {
		return note;
	}

	return (uint8_t)remapped;
}

const Scale &current_scale()
{
	return SCALES[selected];
}

uint8_t current_scale_index()
{
	return selected;
}

bool select_scale(uint8_t index)
{
	if (index >= SCALE_COUNT || index == selected) {
		return false;
	}

	selected = index;

	return true;
}

} /* namespace duo */
```

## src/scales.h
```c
/*
 * Copyright (c) 2025 Dato Musical Instruments
 * SPDX-License-Identifier: Apache-2.0
 *
 * Keyboard scales.
 *
 * The legacy firmware hard-wires the ten keys to one pentatonic scale (the
 * black keys from C#3). Here that is the first of eight scales. Every scale
 * starts on the same lowest key, C#3, so the arrow buttons transpose all of
 * them the same way they always did, and the default is note for note the
 * legacy keyboard.
 *
 * Notes are addressed by their position in the scale: position 0 is the root,
 * 1 the next note up, and so on across octaves (and below zero downwards).
 * Keys 0 to 9 play positions 0 to 9.
 */

#pragma once

#include <cstdint>

namespace duo {

struct Scale {
	const char *name;
	/* Notes per octave. */
	uint8_t length;
	/* Semitones above the root, ascending, the first one 0. */
	uint8_t intervals[12];
};

static const uint8_t SCALE_ROOT = 49; /* C#3 */
static const uint8_t SCALE_COUNT = 8;
static const uint8_t KEYBOARD_KEYS = 10;

/* The DUO's own pentatonic, the default. */
static const uint8_t DEFAULT_SCALE = 0;

extern const Scale SCALES[SCALE_COUNT];

/* The note at `position` in `scale`, which may be outside the MIDI range. */
int scale_note(const Scale &scale, int position);

/* Where `note` sits in `scale`; false if the scale does not contain it. */
bool scale_position(const Scale &scale, int note, int *position);

/*
 * The note that takes the place of `note` when switching from one scale to
 * another: the one at the same position, so that a pattern keeps its shape.
 * Notes that are not in `from`, or whose counterpart would fall outside 1 to
 * 127, are left alone.
 */
uint8_t scale_remap(const Scale &from, const Scale &to, uint8_t note);

/* The scale the keyboard currently plays. */
const Scale &current_scale();
uint8_t current_scale_index();

/* Selects scale `index`; false if it does not exist or is already selected. */
bool select_scale(uint8_t index);

/*
 * The notes under the ten keys, in the current scale: `SCALE[key]`. Stands in
 * for the legacy firmware's `const uint8_t SCALE[]` array, so the shared code
 * that indexes it keeps working.
 */
struct ScaleKeys {
	uint8_t operator[](int key) const
	{
		return (uint8_t)scale_note(current_scale(), key);
	}
};

} /* namespace duo */
```

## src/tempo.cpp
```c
/*
 * Copyright (c) 2025 Dato Musical Instruments
 * SPDX-License-Identifier: Apache-2.0
 *
 * Internal clock generator, from brains2/apps/duo/tempo.cpp.
 *
 * The tempo mapping and the accumulator design are the original's. What differs
 * is the timebase: the accumulator counts microseconds, and the legacy code fed
 * it from millis(), so every tick landed on a millisecond boundary - 0.83 ms of
 * jitter at 120 BPM, exported on the MIDI clock and the sync jack. It now reads
 * micros() directly. The arithmetic itself lives in tempo_clock.cpp so that it
 * can be tested without the MIDI and sync machinery TempoHandler pulls in.
 */

#include "compat/duo_compat.h"
#include "compat/lib/tempo.h"

#include "shared/duo/TempoHandler.h"

void Tempo::update_internal(TempoHandler &handler, const int potvalue)
{
	const uint32_t period_us = tempo_period_from_pot(potvalue);

	uint32_t ticks = tempo_advance(accum, last_micros, micros(), period_us);

	while (ticks--) {
		handler._previous_clock_time = micros();
		handler.trigger();
	}
}

void Tempo::reset()
{
	accum = 0;
	last_micros = micros();
}
```

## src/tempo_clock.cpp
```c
/*
 * Copyright (c) 2025 Dato Musical Instruments
 * SPDX-License-Identifier: Apache-2.0
 *
 * The arithmetic behind the internal clock generator: turning the TEMPO pot
 * into a tick period, and turning elapsed time into ticks.
 *
 * This is kept apart from tempo.cpp so it can be tested on the host. The rest
 * of the clock reaches TempoHandler, which pulls in the MIDI and sync
 * transports; the part that decides *when* a tick falls needs none of that.
 */

#include "compat/duo_compat.h"
#include "compat/lib/tempo.h"

/*
 * Microseconds per 24 PPQN tick: 60e6 us per minute / bpm / 24 ticks. The
 * legacy spelling of this was BPM_TO_MILLIS, which was never milliseconds.
 */
#define BPM_TO_TICK_US(bpm) (2500000 / bpm)

/*
 * Longest gap one update will account for. The catch-up loop below is what
 * keeps the tempo accurate across a late poll, so it must not be capped in
 * normal operation - dropping ticks would make the DUO drift slow after every
 * hiccup. This only bounds the pathological case, and at the fastest tempo it
 * still allows a couple of hundred iterations.
 */
#define TEMPO_MAX_ELAPSED_US 1000000U

uint32_t tempo_period_from_pot(const int potvalue)
{
	if (potvalue < 128) {
		return map(potvalue, 0, 128, BPM_TO_TICK_US(30), BPM_TO_TICK_US(60));
	}

	if (potvalue < 895) {
		return map(potvalue, 128, 895, BPM_TO_TICK_US(60), BPM_TO_TICK_US(200));
	}

	/* For Toon: 603 BPM in gives 600 BPM out */
	return map(potvalue, 895, 1023, BPM_TO_TICK_US(200), BPM_TO_TICK_US(603));
}

uint32_t tempo_advance(uint32_t &accum, uint32_t &last_us, const uint32_t now_us,
		       const uint32_t period_us)
{
	/*
	 * Unsigned, so the counter wrapping past 2^32 gives the right answer
	 * rather than a huge one. The legacy code guarded this with
	 * `if (cur >= last)` and silently dropped the interval that straddled
	 * the wrap.
	 */
	const uint32_t elapsed = now_us - last_us;
	uint32_t ticks = 0;

	last_us = now_us;

	if (period_us == 0) {
		return 0;
	}

	accum += elapsed > TEMPO_MAX_ELAPSED_US ? TEMPO_MAX_ELAPSED_US : elapsed;

	while (accum >= period_us) {
		accum -= period_us;
		ticks++;
	}

	return ticks;
}
```
